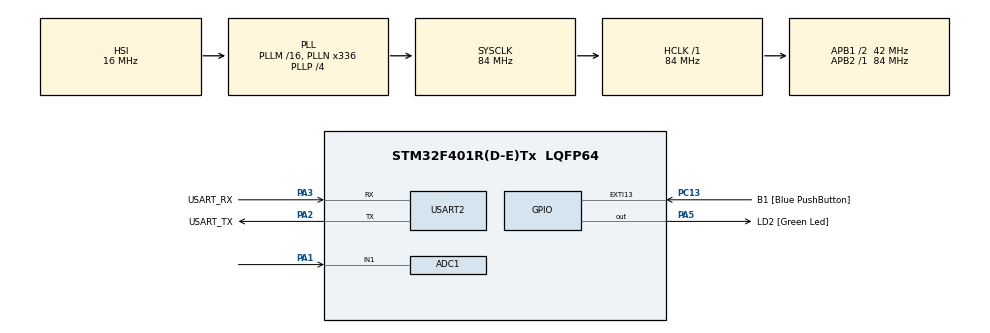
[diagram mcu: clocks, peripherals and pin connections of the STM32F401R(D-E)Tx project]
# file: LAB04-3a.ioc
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ADC1.Channel-0\#ChannelRegularConversion=ADC_CHANNEL_1
ADC1.Channel-1\#ChannelRegularConversion=ADC_CHANNEL_TEMPSENSOR
ADC1.Channel-2\#ChannelRegularConversion=ADC_CHANNEL_VREFINT
ADC1.ContinuousConvMode=DISABLE
ADC1.DMAContinuousRequests=ENABLE
ADC1.ExternalTrigConv=ADC_EXTERNALTRIGCONV_T2_TRGO
ADC1.NbrOfConversion=3
ADC1.NbrOfConversionFlag=1
ADC1.Rank-0\#ChannelRegularConversion=1
ADC1.Rank-1\#ChannelRegularConversion=2
ADC1.Rank-2\#ChannelRegularConversion=3
ADC1.SamplingTime-0\#ChannelRegularConversion=ADC_SAMPLETIME_480CYCLES
ADC1.SamplingTime-1\#ChannelRegularConversion=ADC_SAMPLETIME_480CYCLES
ADC1.SamplingTime-2\#ChannelRegularConversion=ADC_SAMPLETIME_480CYCLES
ADC1.ScanConvMode=ENABLE
ADC1.master=1
Dma.ADC1.0.Direction=DMA_PERIPH_TO_MEMORY
Dma.ADC1.0.FIFOMode=DMA_FIFOMODE_DISABLE
Dma.ADC1.0.Instance=DMA2_Stream0
Dma.ADC1.0.MemDataAlignment=DMA_MDATAALIGN_WORD
Dma.ADC1.0.MemInc=DMA_MINC_ENABLE
Dma.ADC1.0.Mode=DMA_CIRCULAR
Dma.ADC1.0.PeriphDataAlignment=DMA_PDATAALIGN_WORD
Dma.ADC1.0.PeriphInc=DMA_PINC_DISABLE
Dma.ADC1.0.Priority=DMA_PRIORITY_LOW
Dma.Request0=ADC1
Dma.Request1=USART2_TX
Dma.USART2_TX.1.Direction=DMA_MEMORY_TO_PERIPH
Dma.USART2_TX.1.FIFOMode=DMA_FIFOMODE_DISABLE
Dma.USART2_TX.1.Instance=DMA1_Stream6
Dma.USART2_TX.1.MemDataAlignment=DMA_MDATAALIGN_BYTE
Dma.USART2_TX.1.MemInc=DMA_MINC_ENABLE
Dma.USART2_TX.1.Mode=DMA_NORMAL
Dma.USART2_TX.1.PeriphDataAlignment=DMA_PDATAALIGN_BYTE
Dma.USART2_TX.1.PeriphInc=DMA_PINC_DISABLE
Dma.USART2_TX.1.Priority=DMA_PRIORITY_LOW
Mcu.Family=STM32F4
Mcu.Name=STM32F401R(D-E)Tx
Mcu.Package=LQFP64
NVIC.DMA1_Stream6_IRQn=true\:0\:0\:false\:false\:true\:false\:true\:true
NVIC.DMA2_Stream0_IRQn=true\:0\:0\:false\:false\:true\:false\:true\:true
NVIC.PriorityGroup=NVIC_PRIORITYGROUP_4
NVIC.USART2_IRQn=true\:0\:0\:false\:false\:true\:true\:true\:true
PA1.Signal=ADCx_IN1
PA13.GPIO_Label=TMS
PA13.Mode=Trace_Asynchronous_SW
PA13.Signal=SYS_JTMS-SWDIO
PA14.GPIO_Label=TCK
PA14.Mode=Trace_Asynchronous_SW
PA14.Signal=SYS_JTCK-SWCLK
PA2.GPIO_Label=USART_TX
PA2.GPIO_Mode=GPIO_MODE_AF_PP
PA2.GPIO_PuPd=GPIO_NOPULL
PA2.GPIO_Speed=GPIO_SPEED_FREQ_LOW
PA2.Mode=Asynchronous
PA2.Signal=USART2_TX
PA3.GPIO_Label=USART_RX
PA3.GPIO_Mode=GPIO_MODE_AF_PP
PA3.GPIO_PuPd=GPIO_NOPULL
PA3.GPIO_Speed=GPIO_SPEED_FREQ_LOW
PA3.Mode=Asynchronous
PA3.Signal=USART2_RX
PA5.GPIO_Label=LD2 [Green Led]
PA5.GPIO_Mode=GPIO_MODE_OUTPUT_PP
PA5.GPIO_PuPd=GPIO_NOPULL
PA5.GPIO_Speed=GPIO_SPEED_FREQ_LOW
PA5.Signal=GPIO_Output
PB3.GPIO_Label=SWO
PB3.Mode=Trace_Asynchronous_SW
PB3.Signal=SYS_JTDO-SWO
PC13-ANTI_TAMP.GPIO_Label=B1 [Blue PushButton]
PC13-ANTI_TAMP.GPIO_ModeDefaultEXTI=GPIO_MODE_IT_FALLING
PC13-ANTI_TAMP.GPIO_PuPd=GPIO_NOPULL
PC13-ANTI_TAMP.Signal=GPXTI13
PC14-OSC32_IN.Mode=LSE-External-Oscillator
PC14-OSC32_IN.Signal=RCC_OSC32_IN
PC15-OSC32_OUT.Mode=LSE-External-Oscillator
PC15-OSC32_OUT.Signal=RCC_OSC32_OUT
PH0\ -\ OSC_IN.Mode=HSE-External-Clock-Source
PH0\ -\ OSC_IN.Signal=RCC_OSC_IN
PH1\ -\ OSC_OUT.Mode=HSE-External-Clock-Source
PH1\ -\ OSC_OUT.Signal=RCC_OSC_OUT
ProjectManager.HeapSize=0x200
ProjectManager.StackSize=0x400
ProjectManager.TargetToolchain=STM32CubeIDE
RCC.48MHZClocksFreq_Value=48000000
RCC.AHBFreq_Value=84000000
RCC.APB1CLKDivider=RCC_HCLK_DIV2
RCC.APB1Freq_Value=42000000
RCC.APB1TimFreq_Value=84000000
RCC.APB2Freq_Value=84000000
RCC.APB2TimFreq_Value=84000000
RCC.CortexFreq_Value=84000000
RCC.HCLKFreq_Value=84000000
RCC.HSE_VALUE=8000000
RCC.HSI_VALUE=16000000
RCC.PLLN=336
RCC.PLLP=RCC_PLLP_DIV4
RCC.PLLQ=7
RCC.SYSCLKFreq_VALUE=84000000
RCC.SYSCLKSource=RCC_SYSCLKSOURCE_PLLCLK
RCC.VCOOutputFreq_Value=336000000
SH.ADCx_IN1.0=ADC1_IN1,IN1
TIM2.Period=9999
TIM2.Prescaler=8399
TIM2.TIM_MasterOutputTrigger=TIM_TRGO_UPDATE
USART2.VirtualMode=VM_ASYNC
VP_ADC1_TempSens_Input.Mode=IN-TempSens
VP_ADC1_Vref_Input.Mode=IN-Vrefint
VP_TIM2_VS_ClockSourceINT.Mode=Internal
board=NUCLEO-F401RE

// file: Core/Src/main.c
/* USER CODE BEGIN Header */
/**
  ******************************************************************************
  * @file           : main.c
  * @brief          : Main program body
  ******************************************************************************
  * @attention
  *
  * Copyright (c) 2026 STMicroelectronics.
  * All rights reserved.
  *
  * This software is licensed under terms that can be found in the LICENSE file
  * in the root directory of this software component.
  * If no LICENSE file comes with this software, it is provided AS-IS.
  *
  ******************************************************************************
  */
/* USER CODE END Header */
#include "main.h"

/* USER CODE BEGIN Includes */

#include <stdio.h>

/* USER CODE END Includes */

ADC_HandleTypeDef hadc1;
DMA_HandleTypeDef hdma_adc1;

TIM_HandleTypeDef htim2;

UART_HandleTypeDef huart2;
DMA_HandleTypeDef hdma_usart2_tx;

/* USER CODE BEGIN PV */

// Array to hold the 3 raw ADC values: [0]=Pot, [1]=Temp, [2]=Vref
uint32_t adc_buffer[3];

// Variables for calculated values
float v_pot = 0;
float temp_celsius = 0;
float v_refint = 0;

// UART transmission buffer
char tx_buffer[100];
int length;

/* USER CODE END PV */

void SystemClock_Config(void);
static void MX_GPIO_Init(void);
static void MX_DMA_Init(void);
static void MX_USART2_UART_Init(void);
static void MX_ADC1_Init(void);
static void MX_TIM2_Init(void);

int main(void)
{

  /* MCU Configuration--------------------------------------------------------*/

  /* Reset of all peripherals, Initializes the Flash interface and the Systick. */
  HAL_Init();

  /* Configure the system clock */
  SystemClock_Config();

  /* Initialize all configured peripherals */
  MX_GPIO_Init();
  MX_DMA_Init();
  MX_USART2_UART_Init();
  MX_ADC1_Init();
  MX_TIM2_Init();
  /* USER CODE BEGIN 2 */

  // Start the Timer
  HAL_TIM_Base_Start(&htim2);

  // Start the ADC in DMA mode.
  HAL_ADC_Start_DMA(&hadc1, (uint32_t*)adc_buffer, 3);

  /* USER CODE END 2 */

  /* Infinite loop */
  while (1)
  {

  }
}

void SystemClock_Config(void)
{
  RCC_OscInitTypeDef RCC_OscInitStruct = {0};
  RCC_ClkInitTypeDef RCC_ClkInitStruct = {0};

  /** Configure the main internal regulator output voltage
  */
  __HAL_RCC_PWR_CLK_ENABLE();
  __HAL_PWR_VOLTAGESCALING_CONFIG(PWR_REGULATOR_VOLTAGE_SCALE2);

  /** Initializes the RCC Oscillators according to the specified parameters
  * in the RCC_OscInitTypeDef structure.
  */
  RCC_OscInitStruct.OscillatorType = RCC_OSCILLATORTYPE_HSI;
  RCC_OscInitStruct.HSIState = RCC_HSI_ON;
  RCC_OscInitStruct.HSICalibrationValue = RCC_HSICALIBRATION_DEFAULT;
  RCC_OscInitStruct.PLL.PLLState = RCC_PLL_ON;
  RCC_OscInitStruct.PLL.PLLSource = RCC_PLLSOURCE_HSI;
  RCC_OscInitStruct.PLL.PLLM = 16;
  RCC_OscInitStruct.PLL.PLLN = 336;
  RCC_OscInitStruct.PLL.PLLP = RCC_PLLP_DIV4;
  RCC_OscInitStruct.PLL.PLLQ = 7;
  if (HAL_RCC_OscConfig(&RCC_OscInitStruct) != HAL_OK)
  {
    Error_Handler();
  }

  /** Initializes the CPU, AHB and APB buses clocks
  */
  RCC_ClkInitStruct.ClockType = RCC_CLOCKTYPE_HCLK|RCC_CLOCKTYPE_SYSCLK
                              |RCC_CLOCKTYPE_PCLK1|RCC_CLOCKTYPE_PCLK2;
  RCC_ClkInitStruct.SYSCLKSource = RCC_SYSCLKSOURCE_PLLCLK;
  RCC_ClkInitStruct.AHBCLKDivider = RCC_SYSCLK_DIV1;
  RCC_ClkInitStruct.APB1CLKDivider = RCC_HCLK_DIV2;
  RCC_ClkInitStruct.APB2CLKDivider = RCC_HCLK_DIV1;

  if (HAL_RCC_ClockConfig(&RCC_ClkInitStruct, FLASH_LATENCY_2) != HAL_OK)
  {
    Error_Handler();
  }
}

static void MX_ADC1_Init(void)
{

  ADC_ChannelConfTypeDef sConfig = {0};

  /** Configure the global features of the ADC (Clock, Resolution, Data Alignment and number of conversion)
  */
  hadc1.Instance = ADC1;
  hadc1.Init.ClockPrescaler = ADC_CLOCK_SYNC_PCLK_DIV4;
  hadc1.Init.Resolution = ADC_RESOLUTION_12B;
  hadc1.Init.ScanConvMode = ENABLE;
  hadc1.Init.ContinuousConvMode = DISABLE;
  hadc1.Init.DiscontinuousConvMode = DISABLE;
  hadc1.Init.ExternalTrigConvEdge = ADC_EXTERNALTRIGCONVEDGE_RISING;
  hadc1.Init.ExternalTrigConv = ADC_EXTERNALTRIGCONV_T2_TRGO;
  hadc1.Init.DataAlign = ADC_DATAALIGN_RIGHT;
  hadc1.Init.NbrOfConversion = 3;
  hadc1.Init.DMAContinuousRequests = ENABLE;
  hadc1.Init.EOCSelection = ADC_EOC_SINGLE_CONV;
  if (HAL_ADC_Init(&hadc1) != HAL_OK)
  {
    Error_Handler();
  }

  /** Configure for the selected ADC regular channel its corresponding rank in the sequencer and its sample time.
  */
  sConfig.Channel = ADC_CHANNEL_1;
  sConfig.Rank = 1;
  sConfig.SamplingTime = ADC_SAMPLETIME_480CYCLES;
  if (HAL_ADC_ConfigChannel(&hadc1, &sConfig) != HAL_OK)
  {
    Error_Handler();
  }

  /** Configure for the selected ADC regular channel its corresponding rank in the sequencer and its sample time.
  */
  sConfig.Channel = ADC_CHANNEL_TEMPSENSOR;
  sConfig.Rank = 2;
  if (HAL_ADC_ConfigChannel(&hadc1, &sConfig) != HAL_OK)
  {
    Error_Handler();
  }

  /** Configure for the selected ADC regular channel its corresponding rank in the sequencer and its sample time.
  */
  sConfig.Channel = ADC_CHANNEL_VREFINT;
  sConfig.Rank = 3;
  if (HAL_ADC_ConfigChannel(&hadc1, &sConfig) != HAL_OK)
  {
    Error_Handler();
  }

}

static void MX_TIM2_Init(void)
{

  TIM_ClockConfigTypeDef sClockSourceConfig = {0};
  TIM_MasterConfigTypeDef sMasterConfig = {0};

  htim2.Instance = TIM2;
  htim2.Init.Prescaler = 8399;
  htim2.Init.CounterMode = TIM_COUNTERMODE_UP;
  htim2.Init.Period = 9999;
  htim2.Init.ClockDivision = TIM_CLOCKDIVISION_DIV1;
  htim2.Init.AutoReloadPreload = TIM_AUTORELOAD_PRELOAD_DISABLE;
  if (HAL_TIM_Base_Init(&htim2) != HAL_OK)
  {
    Error_Handler();
  }
  sClockSourceConfig.ClockSource = TIM_CLOCKSOURCE_INTERNAL;
  if (HAL_TIM_ConfigClockSource(&htim2, &sClockSourceConfig) != HAL_OK)
  {
    Error_Handler();
  }
  sMasterConfig.MasterOutputTrigger = TIM_TRGO_UPDATE;
  sMasterConfig.MasterSlaveMode = TIM_MASTERSLAVEMODE_DISABLE;
  if (HAL_TIMEx_MasterConfigSynchronization(&htim2, &sMasterConfig) != HAL_OK)
  {
    Error_Handler();
  }

}

static void MX_USART2_UART_Init(void)
{

  huart2.Instance = USART2;
  huart2.Init.BaudRate = 115200;
  huart2.Init.WordLength = UART_WORDLENGTH_8B;
  huart2.Init.StopBits = UART_STOPBITS_1;
  huart2.Init.Parity = UART_PARITY_NONE;
  huart2.Init.Mode = UART_MODE_TX_RX;
  huart2.Init.HwFlowCtl = UART_HWCONTROL_NONE;
  huart2.Init.OverSampling = UART_OVERSAMPLING_16;
  if (HAL_UART_Init(&huart2) != HAL_OK)
  {
    Error_Handler();
  }

}

static void MX_DMA_Init(void)
{

  /* DMA controller clock enable */
  __HAL_RCC_DMA2_CLK_ENABLE();
  __HAL_RCC_DMA1_CLK_ENABLE();

  /* DMA interrupt init */
  /* DMA1_Stream6_IRQn interrupt configuration */
  HAL_NVIC_SetPriority(DMA1_Stream6_IRQn, 0, 0);
  HAL_NVIC_EnableIRQ(DMA1_Stream6_IRQn);
  /* DMA2_Stream0_IRQn interrupt configuration */
  HAL_NVIC_SetPriority(DMA2_Stream0_IRQn, 0, 0);
  HAL_NVIC_EnableIRQ(DMA2_Stream0_IRQn);

}

static void MX_GPIO_Init(void)
{
  GPIO_InitTypeDef GPIO_InitStruct = {0};

  /* GPIO Ports Clock Enable */
  __HAL_RCC_GPIOC_CLK_ENABLE();
  __HAL_RCC_GPIOH_CLK_ENABLE();
  __HAL_RCC_GPIOA_CLK_ENABLE();
  __HAL_RCC_GPIOB_CLK_ENABLE();

  /*Configure GPIO pin Output Level */
  HAL_GPIO_WritePin(LD2_GPIO_Port, LD2_Pin, GPIO_PIN_RESET);

  /*Configure GPIO pin : B1_Pin */
  GPIO_InitStruct.Pin = B1_Pin;
  GPIO_InitStruct.Mode = GPIO_MODE_IT_FALLING;
  GPIO_InitStruct.Pull = GPIO_NOPULL;
  HAL_GPIO_Init(B1_GPIO_Port, &GPIO_InitStruct);

  /*Configure GPIO pin : LD2_Pin */
  GPIO_InitStruct.Pin = LD2_Pin;
  GPIO_InitStruct.Mode = GPIO_MODE_OUTPUT_PP;
  GPIO_InitStruct.Pull = GPIO_NOPULL;
  GPIO_InitStruct.Speed = GPIO_SPEED_FREQ_LOW;
  HAL_GPIO_Init(LD2_GPIO_Port, &GPIO_InitStruct);

}

/* USER CODE BEGIN 4 */

// This callback fires when the DMA finishes transferring all 3 ADC readings into adc_buffer
void HAL_ADC_ConvCpltCallback(ADC_HandleTypeDef* hadc)
{
  if (hadc->Instance == ADC1)
  {
    // Compute Potentiometer Voltage (in V)
    v_pot = (adc_buffer[0] / 4095.0) * 3.3;

    // Compute Temperature Sensor Voltage (in mV)
    float v_sense = (adc_buffer[1] / 4095.0) * 3300.0;

    // Convert Temperature Sensor Voltage to Celsius
    temp_celsius = ((v_sense - 760.0) / 2.5) + 25.0;

    // Compute Vrefint Voltage (in V)
    v_refint = (adc_buffer[2] / 4095.0) * 3.3;

    // Format the string to send all values
    length = snprintf(tx_buffer, sizeof(tx_buffer), "Vpot: %.3fV | Temp: %.3f C | Vrefint: %.3f\r\n", v_pot, temp_celsius, v_refint);

    // Send via UART
    HAL_UART_Transmit_DMA(&huart2, (uint8_t*)tx_buffer, length);
  }
}

/* USER CODE END 4 */

void Error_Handler(void)
{
  __disable_irq();
  while (1)
  {
  }
}
